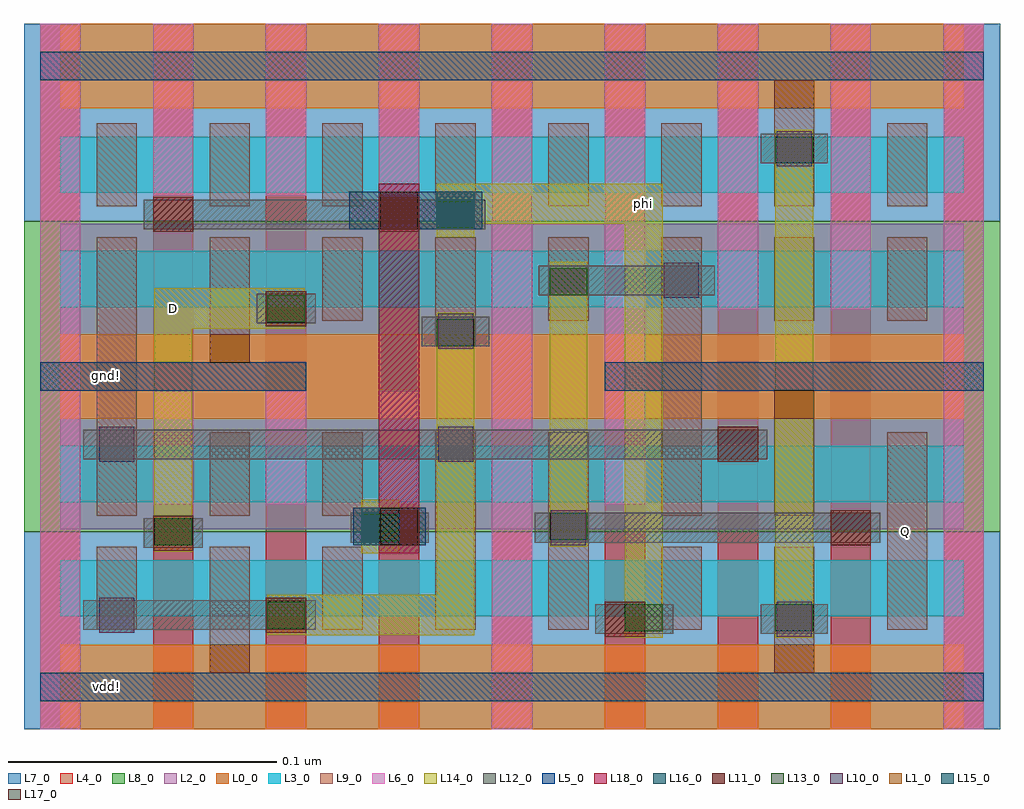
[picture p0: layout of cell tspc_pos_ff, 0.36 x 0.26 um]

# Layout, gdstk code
import gdstk
lib = gdstk.Library(unit=1e-6, precision=5e-10)
def R(c, l, rs):  # rectangles x0, y0, x1, y1
    for r in rs: c.add(gdstk.rectangle(r[:2], r[2:], *l))
def A(c, l, x, y, w, h, nx, ny, dx, dy):  # array of equal rectangles
    R(c, l, [(x+i*dx, y+j*dy, x+i*dx+w, y+j*dy+h) for i in range(nx) for j in range(ny)])
L0_0 = (0, 0)
L1_0 = (1, 0)
L2_0 = (2, 0)
L3_0 = (3, 0)
L4_0 = (4, 0)
L5_0 = (5, 0)
L6_0 = (6, 0)
L7_0 = (7, 0)
L8_0 = (8, 0)
L9_0 = (9, 0)
L10_0 = (10, 0)
L11_0 = (11, 0)
L12_0 = (12, 0)
L13_0 = (13, 0)
L14_0 = (14, 0)
L15_0 = (15, 0)
L16_0 = (16, 0)
L17_0 = (17, 0)
L18_0 = (18, 0)

m1_m2 = lib.new_cell('M1_M2')
R(m1_m2, L14_0, [(-0.007,-0.01,0.007,0.01)])
R(m1_m2, L15_0, [(-0.007,-0.007,0.007,0.007)])
R(m1_m2, L16_0, [(-0.01,-0.007,0.01,0.007)])

m0a_m0b = lib.new_cell('M0A_M0B')
R(m0a_m0b, L9_0, [(-0.0075,-0.0055,0.0075,0.0055)])
R(m0a_m0b, L10_0, [(-0.0065,-0.0065,0.0065,0.0065)])
R(m0a_m0b, L12_0, [(-0.0125,-0.0055,0.0125,0.0055)])

m0b_m1 = lib.new_cell('M0B_M1')
R(m0b_m1, L12_0, [(-0.011,-0.005,0.011,0.005)])
R(m0b_m1, L13_0, [(-0.007,-0.005,0.007,0.005)])
R(m0b_m1, L14_0, [(-0.007,-0.0075,0.007,0.0075)])

m2_m3 = lib.new_cell('M2_M3')
R(m2_m3, L16_0, [(-0.01,-0.007,0.01,0.007)])
R(m2_m3, L17_0, [(-0.007,-0.007,0.007,0.007)])
R(m2_m3, L18_0, [(-0.0075,-0.01,0.0075,0.01)])

gate_m0b = lib.new_cell('GATE_M0B')
R(gate_m0b, L4_0, [(-0.0075,-0.0115,0.0075,0.0115)])
R(gate_m0b, L11_0, [(-0.0075,-0.0065,0.0075,0.0065)])
R(gate_m0b, L12_0, [(-0.011,-0.0055,0.011,0.0055)])

bpr_m0a = lib.new_cell('BPR_M0A')
R(bpr_m0a, L0_0, [(-0.021,-0.0055,0.021,0.026)])
R(bpr_m0a, L1_0, [(-0.0075,-0.0055,0.0075,0.005)])
R(bpr_m0a, L9_0, [(-0.0075,-0.0165,0.0075,0.005)])

pmos = lib.new_cell('pmos')
R(pmos, L2_0, [(-0.042,-0.0205,0.042,0.0205)])
R(pmos, L3_0, [(-0.042,-0.0105,0.042,0.0105)])
A(pmos, L4_0, -0.0495, -0.032, 0.015, 0.064, 3, 1, 0.042, 0)
R(pmos, L8_0, [(-0.0555,-0.0205,0.0555,0.0205)])
R(pmos, L9_0, [(-0.0285,-0.0155,-0.0135,0.0155), (0.0135,-0.0155,0.0285,0.0155)])

nmos = lib.new_cell('nmos')
R(nmos, L3_0, [(-0.042,-0.0105,0.042,0.0105)])
A(nmos, L4_0, -0.0495, -0.032, 0.015, 0.064, 3, 1, 0.042, 0)
R(nmos, L7_0, [(-0.0555,-0.021,0.0555,0.0205)])
R(nmos, L9_0, [(-0.0285,-0.0155,-0.0135,0.0155), (0.0135,-0.0155,0.0285,0.0155)])

tspc_pos_ff_0 = lib.new_cell('tspc_pos_ff_0')
A(tspc_pos_ff_0, L0_0, 0, 0, 0.336, 0.0315, 1, 3, 0, 0.1155)
R(tspc_pos_ff_0, L2_0, [(0,0.0745,0.336,0.188)])
A(tspc_pos_ff_0, L4_0, -0.0075, 0, 0.015, 0.2625, 3, 1, 0.042, 0)
A(tspc_pos_ff_0, L4_0, 0.0765, 0, 0.015, 0.2625, 7, 1, 0.042, 0)
R(tspc_pos_ff_0, L5_0, [(-0.0075,0.0105,0.3435,0.021), (-0.0075,0.126,0.0915,0.1365), (0.2025,0.126,0.3435,0.1365), (-0.0075,0.2415,0.3435,0.252)])
A(tspc_pos_ff_0, L6_0, -0.0075, 0, 0.015, 0.2625, 3, 1, 0.168, 0)
A(tspc_pos_ff_0, L6_0, 0.0345, 0.0835, 0.015, 0.0425, 3, 1, 0.042, 0)
A(tspc_pos_ff_0, L6_0, 0.0345, 0.1985, 0.015, 0.064, 3, 1, 0.042, 0)
R(tspc_pos_ff_0, L6_0, [(0.2025,0.0835,0.2175,0.2625), (0.2445,0.156,0.2595,0.2625), (0.2865,0.156,0.3015,0.2625)])
R(tspc_pos_ff_0, L7_0, [(-0.0135,0,0.3495,0.0735), (-0.0135,0.189,0.3495,0.2625)])
R(tspc_pos_ff_0, L8_0, [(-0.0135,0.0735,0.3495,0.189)])
R(tspc_pos_ff_0, L9_0, [(0.1395,0.037,0.1545,0.1105), (0.1815,0.037,0.1965,0.1105), (0.3075,0.037,0.3225,0.1105), (0.0135,0.0795,0.0285,0.183), (0.2235,0.0795,0.2385,0.183)])
R(tspc_pos_ff_0, L12_0, [(0.199,0.0355,0.228,0.0465), (0.0085,0.037,0.095,0.048), (0.031,0.0675,0.053,0.0785), (0.108,0.0695,0.137,0.0805), (0.1765,0.0695,0.305,0.0805), (0.0085,0.1005,0.263,0.1115), (0.178,0.1615,0.2435,0.1725), (0.031,0.186,0.158,0.197)])
R(tspc_pos_ff_0, L14_0, [(0.21,0.034,0.224,0.203), (0.266,0.034,0.28,0.223), (0.077,0.035,0.154,0.05), (0.14,0.035,0.154,0.155), (0.035,0.066,0.049,0.164), (0.182,0.068,0.196,0.174), (0.035,0.149,0.091,0.164), (0.14,0.188,0.224,0.203)])
R(tspc_pos_ff_0, L16_0, [(0.1075,0.186,0.157,0.2)])
R(tspc_pos_ff_0, L18_0, [(0.1185,0.0655,0.1335,0.203)])
tspc_pos_ff_0.add(gdstk.Reference(m1_m2, (0.119,0.0755)))
tspc_pos_ff_0.add(gdstk.Reference(m1_m2, (0.147,0.193)))
tspc_pos_ff_0.add(gdstk.Reference(m0a_m0b, (0.147,0.106)))
tspc_pos_ff_0.add(gdstk.Reference(m0a_m0b, (0.021,0.106)))
tspc_pos_ff_0.add(gdstk.Reference(m0a_m0b, (0.147,0.148)))
tspc_pos_ff_0.add(gdstk.Reference(m0a_m0b, (0.021,0.0425)))
tspc_pos_ff_0.add(gdstk.Reference(m0a_m0b, (0.273,0.216)))
tspc_pos_ff_0.add(gdstk.Reference(m0a_m0b, (0.231,0.167)))
tspc_pos_ff_0.add(gdstk.Reference(m0a_m0b, (0.273,0.041)))
tspc_pos_ff_0.add(gdstk.Reference(m0a_m0b, (0.189,0.075)))
tspc_pos_ff_0.add(gdstk.Reference(m0b_m1, (0.084,0.0425)))
tspc_pos_ff_0.add(gdstk.Reference(m0b_m1, (0.147,0.1475)))
tspc_pos_ff_0.add(gdstk.Reference(m0b_m1, (0.189,0.0755)))
tspc_pos_ff_0.add(gdstk.Reference(m0b_m1, (0.273,0.2155)))
tspc_pos_ff_0.add(gdstk.Reference(m0b_m1, (0.119,0.075)))
tspc_pos_ff_0.add(gdstk.Reference(m0b_m1, (0.189,0.1665)))
tspc_pos_ff_0.add(gdstk.Reference(m0b_m1, (0.217,0.0415)))
tspc_pos_ff_0.add(gdstk.Reference(m0b_m1, (0.273,0.0415)))
tspc_pos_ff_0.add(gdstk.Reference(m0b_m1, (0.147,0.1915)))
tspc_pos_ff_0.add(gdstk.Reference(m0b_m1, (0.042,0.0735)))
tspc_pos_ff_0.add(gdstk.Reference(m0b_m1, (0.084,0.1565)))
tspc_pos_ff_0.add(gdstk.Reference(m2_m3, (0.126,0.0755)))
tspc_pos_ff_0.add(gdstk.Reference(m2_m3, (0.126,0.193)))
tspc_pos_ff_0.add(gdstk.Reference(gate_m0b, (0.084,0.0425)))
tspc_pos_ff_0.add(gdstk.Reference(gate_m0b, (0.252,0.106)))
tspc_pos_ff_0.add(gdstk.Reference(gate_m0b, (0.084,0.1565)))
tspc_pos_ff_0.add(gdstk.Reference(gate_m0b, (0.126,0.1915)))
tspc_pos_ff_0.add(gdstk.Reference(gate_m0b, (0.042,0.1915)))
tspc_pos_ff_0.add(gdstk.Reference(gate_m0b, (0.126,0.075)))
tspc_pos_ff_0.add(gdstk.Reference(gate_m0b, (0.21,0.041)))
tspc_pos_ff_0.add(gdstk.Reference(gate_m0b, (0.042,0.073)))
tspc_pos_ff_0.add(gdstk.Reference(gate_m0b, (0.294,0.075)))
tspc_pos_ff_0.add(gdstk.Reference(bpr_m0a, (0.273,0.121)))
tspc_pos_ff_0.add(gdstk.Reference(bpr_m0a, (0.063,0.1415), x_reflection=True))
tspc_pos_ff_0.add(gdstk.Reference(bpr_m0a, (0.273,0.026), x_reflection=True))
tspc_pos_ff_0.add(gdstk.Reference(bpr_m0a, (0.063,0.026), x_reflection=True))
tspc_pos_ff_0.add(gdstk.Reference(bpr_m0a, (0.273,0.2365)))
tspc_pos_ff_0.add(gdstk.Reference(pmos, (0.21,0.1675)))
tspc_pos_ff_0.add(gdstk.Reference(pmos, (0.294,0.1675)))
tspc_pos_ff_0.add(gdstk.Reference(pmos, (0.294,0.095)))
tspc_pos_ff_0.add(gdstk.Reference(pmos, (0.21,0.095)))
tspc_pos_ff_0.add(gdstk.Reference(pmos, (0.042,0.095)))
tspc_pos_ff_0.add(gdstk.Reference(pmos, (0.042,0.1675)))
tspc_pos_ff_0.add(gdstk.Reference(pmos, (0.126,0.095)))
tspc_pos_ff_0.add(gdstk.Reference(pmos, (0.126,0.1675)))
tspc_pos_ff_0.add(gdstk.Reference(nmos, (0.21,0.21), x_reflection=True))
tspc_pos_ff_0.add(gdstk.Reference(nmos, (0.294,0.21), x_reflection=True))
tspc_pos_ff_0.add(gdstk.Reference(nmos, (0.21,0.0525)))
tspc_pos_ff_0.add(gdstk.Reference(nmos, (0.294,0.0525)))
tspc_pos_ff_0.add(gdstk.Reference(nmos, (0.042,0.0525)))
tspc_pos_ff_0.add(gdstk.Reference(nmos, (0.042,0.21), x_reflection=True))
tspc_pos_ff_0.add(gdstk.Reference(nmos, (0.126,0.0525)))
tspc_pos_ff_0.add(gdstk.Reference(nmos, (0.126,0.21), x_reflection=True))

tspc_pos_ff = lib.new_cell('tspc_pos_ff')
R(tspc_pos_ff, L0_0, [(0,0,0.0345,0.0315), (0,0.1155,0.0345,0.147)])
R(tspc_pos_ff, L9_0, [(0.3075,0.068,0.3225,0.0795)])
R(tspc_pos_ff, L14_0, [(0.035,0.149,0.049,0.164), (0.21,0.188,0.224,0.203)])
tspc_pos_ff.add(gdstk.Reference(tspc_pos_ff_0, (0,0)))
tspc_pos_ff.add(gdstk.Label('phi', (0.217,0.1955), layer=14, texttype=0))
tspc_pos_ff.add(gdstk.Label('D', (0.042,0.1565), layer=14, texttype=0))
tspc_pos_ff.add(gdstk.Label('Q', (0.3145,0.0735), layer=9, texttype=0))
tspc_pos_ff.add(gdstk.Label('gnd!', (0.017,0.1315), layer=0, texttype=0))
tspc_pos_ff.add(gdstk.Label('vdd!', (0.017,0.016), layer=0, texttype=0))

lib.write_gds('tspc_pos_ff.gds')
